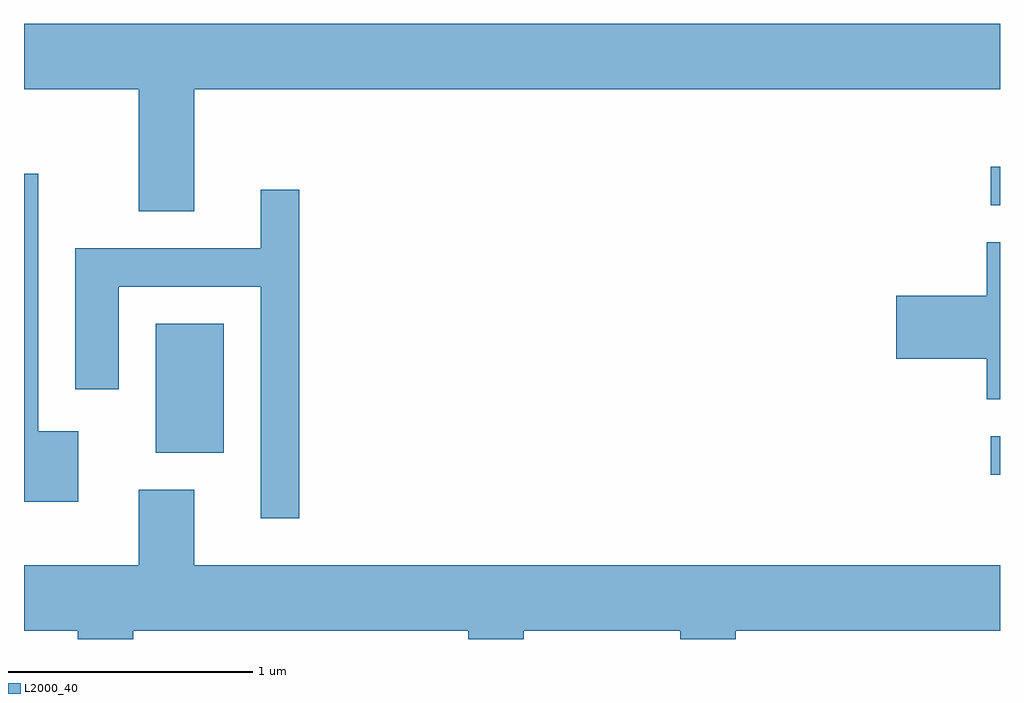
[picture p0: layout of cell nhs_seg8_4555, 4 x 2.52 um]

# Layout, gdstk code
import gdstk
lib = gdstk.Library(unit=1e-6, precision=1e-09)
def R(c, l, rs):  # rectangles x0, y0, x1, y1
    for r in rs: c.add(gdstk.rectangle(r[:2], r[2:], *l))
def P(c, l, *ps):  # polygons
    for p in ps: c.add(gdstk.Polygon(p, *l))
L2000_40 = (2000, 40)

nhs_seg8_4555 = lib.new_cell('nhs_seg8_4555')
R(nhs_seg8_4555, L2000_40, [(325.573,1877.016,325.611,1877.174), (322.151,1877.106,322.429,1877.634), (325.573,1878.121,325.611,1878.279)])
P(nhs_seg8_4555, L2000_40, [(322.309,1878.596),(325.611,1878.596),(325.611,1878.864),(321.611,1878.864),(321.611,1878.596),(322.081,1878.596),(322.081,1878.096),(322.309,1878.096)],
  [(321.834,1877.194),(321.669,1877.194),(321.669,1878.249),(321.611,1878.249),(321.611,1876.906),(321.834,1876.906)],
  [(322.739,1878.183),(322.581,1878.183),(322.581,1877.944),(321.821,1877.944),(321.821,1877.366),(321.999,1877.366),(321.999,1877.786),(322.581,1877.786),(322.581,1876.838),(322.739,1876.838)],
  [(325.611,1877.969),(325.556,1877.969),(325.556,1877.749),(325.186,1877.749),(325.186,1877.491),(325.556,1877.491),(325.556,1877.326),(325.611,1877.326)],
  [(322.059,1876.376),(323.431,1876.376),(323.431,1876.342),(323.659,1876.342),(323.659,1876.376),(324.301,1876.376),(324.301,1876.342),(324.529,1876.342),(324.529,1876.376),(325.611,1876.376),(325.611,1876.644),(322.309,1876.644),(322.309,1876.954),(322.081,1876.954),(322.081,1876.644),(321.611,1876.644),(321.611,1876.376),(321.831,1876.376),(321.831,1876.342),(322.059,1876.342)])

lib.write_gds('nhs_seg8_4555.gds')
